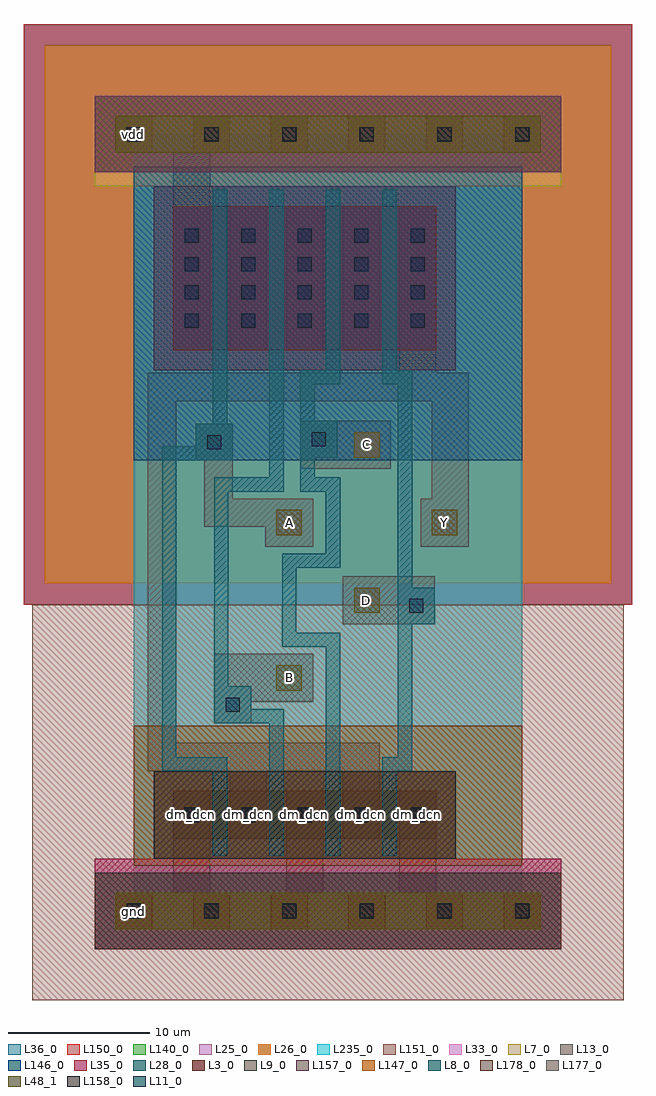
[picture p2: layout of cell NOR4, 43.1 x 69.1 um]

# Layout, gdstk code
import gdstk
lib = gdstk.Library(unit=1e-6, precision=1e-09)
def R(c, l, rs):  # rectangles x0, y0, x1, y1
    for r in rs: c.add(gdstk.rectangle(r[:2], r[2:], *l))
def A(c, l, x, y, w, h, nx, ny, dx, dy):  # array of equal rectangles
    R(c, l, [(x+i*dx, y+j*dy, x+i*dx+w, y+j*dy+h) for i in range(nx) for j in range(ny)])
def P(c, l, *ps):  # polygons
    for p in ps: c.add(gdstk.Polygon(p, *l))
L3_0 = (3, 0)
L7_0 = (7, 0)
L8_0 = (8, 0)
L9_0 = (9, 0)
L11_0 = (11, 0)
L13_0 = (13, 0)
L25_0 = (25, 0)
L26_0 = (26, 0)
L28_0 = (28, 0)
L33_0 = (33, 0)
L35_0 = (35, 0)
L36_0 = (36, 0)
L48_1 = (48, 1)
L140_0 = (140, 0)
L146_0 = (146, 0)
L147_0 = (147, 0)
L150_0 = (150, 0)
L151_0 = (151, 0)
L157_0 = (157, 0)
L158_0 = (158, 0)
L177_0 = (177, 0)
L178_0 = (178, 0)
L235_0 = (235, 0)

nor4 = lib.new_cell('NOR4')
A(nor4, L3_0, -1.3, -1.3, 2.6, 2.6, 6, 2, 5.5, 55)
R(nor4, L3_0, [(2.8,5.1,21.4,8.5), (2.8,39.7,21.4,49.9)])
R(nor4, L7_0, [(-2.75,-2.7,30.25,2.7)])
P(nor4, L7_0, [(1.4,38.3),(1.4,51.3),(-2.75,51.3),(-2.75,57.7),(30.25,57.7),(30.25,51.3),(22.8,51.3),(22.8,38.3)])
P(nor4, L8_0, [(5.6,3.9),(5.6,9.9),(2,9.9),(2,32.9),(4.4,32.9),(4.4,34.5),(5.6,34.5),(5.6,51.1),(6.6,51.1),(6.6,34.5),(7,34.5),(7,31.9),(3,31.9),(3,10.9),(6.6,10.9),(6.6,3.9)],
  [(9.6,3.9),(9.6,13.3),(5.7,13.3),(5.7,30.7),(9.6,30.7),(9.6,51.1),(10.6,51.1),(10.6,29.7),(6.7,29.7),(6.7,15.9),(8.3,15.9),(8.3,14.3),(10.6,14.3),(10.6,3.9)],
  [(13.6,3.9),(13.6,18.7),(10.5,18.7),(10.5,25.3),(13.6,25.3),(13.6,29.7),(11.8,29.7),(11.8,38.3),(13.6,38.3),(13.6,51.1),(14.6,51.1),(14.6,37.3),(12.8,37.3),(12.8,34.7),(14.4,34.7),(14.4,32.1),(12.8,32.1),(12.8,30.7),(14.6,30.7),(14.6,24.3),(11.5,24.3),(11.5,19.7),(14.6,19.7),(14.6,3.9)],
  [(17.6,3.9),(17.6,10.9),(18.7,10.9),(18.7,37.3),(17.6,37.3),(17.6,51.1),(18.6,51.1),(18.6,38.3),(19.7,38.3),(19.7,22.9),(21.3,22.9),(21.3,20.3),(19.7,20.3),(19.7,9.9),(18.6,9.9),(18.6,3.9)])
R(nor4, L9_0, [(1.4,3.7,22.8,9.9), (-2.75,52.3,30.25,57.7)])
A(nor4, L11_0, -0.5, -0.5, 1, 1, 6, 2, 5.5, 55)
A(nor4, L11_0, 3.6, 41.3, 1, 1, 1, 4, 0, 2)
A(nor4, L11_0, 19.6, 41.3, 1, 1, 1, 4, 0, 2)
R(nor4, L11_0, [(3.6,6.3,4.6,7.3), (7.6,6.3,8.6,7.3), (7.6,6.3,8.6,7.3), (11.6,6.3,12.6,7.3), (11.6,6.3,12.6,7.3), (15.6,6.3,16.6,7.3), (15.6,6.3,16.6,7.3), (19.6,6.3,20.6,7.3), (6.5,14.1,7.5,15.1), (19.5,21.1,20.5,22.1), (5.2,32.7,6.2,33.7), (12.6,32.9,13.6,33.9), (7.6,41.3,8.6,42.3), (7.6,41.3,8.6,42.3), (11.6,41.3,12.6,42.3), (11.6,41.3,12.6,42.3), (15.6,41.3,16.6,42.3), (15.6,41.3,16.6,42.3), (7.6,43.3,8.6,44.3), (7.6,43.3,8.6,44.3), (11.6,43.3,12.6,44.3), (11.6,43.3,12.6,44.3), (15.6,43.3,16.6,44.3), (15.6,43.3,16.6,44.3), (7.6,45.3,8.6,46.3), (7.6,45.3,8.6,46.3), (11.6,45.3,12.6,46.3), (11.6,45.3,12.6,46.3), (15.6,45.3,16.6,46.3), (15.6,45.3,16.6,46.3), (7.6,47.3,8.6,48.3), (7.6,47.3,8.6,48.3), (11.6,47.3,12.6,48.3), (11.6,47.3,12.6,48.3), (15.6,47.3,16.6,48.3), (15.6,47.3,16.6,48.3)])
A(nor4, L13_0, 6.8, 39.7, 2.6, 10.2, 3, 1, 4, 0)
R(nor4, L13_0, [(14.8,20.3,21.3,23.7), (11.8,31.3,18.2,34.7)])
P(nor4, L13_0, [(-1.3,-1.3),(-1.3,1.3),(2.8,1.3),(2.8,8.5),(5.4,8.5),(5.4,1.3),(10.8,1.3),(10.8,8.5),(13.4,8.5),(13.4,1.3),(18.8,1.3),(18.8,8.5),(21.4,8.5),(21.4,1.3),(28.8,1.3),(28.8,-1.3)],
  [(5.7,13.3),(5.7,18.2),(12.7,18.2),(12.7,14.8),(8.3,14.8),(8.3,13.3)],
  [(9.3,25.8),(9.3,27.2),(5,27.2),(5,31.9),(4.4,31.9),(4.4,34.5),(7,34.5),(7,29.2),(12.7,29.2),(12.7,25.8)],
  [(6.8,5.1),(6.8,9.9),(1,9.9),(1,38.1),(18.8,38.1),(18.8,49.9),(21.4,49.9),(21.4,38.1),(23.7,38.1),(23.7,25.8),(20.3,25.8),(20.3,29.2),(21.1,29.2),(21.1,36.1),(3,36.1),(3,11.9),(17.4,11.9),(17.4,5.1),(14.8,5.1),(14.8,9.9),(9.4,9.9),(9.4,5.1)],
  [(2.8,39.7),(2.8,53.7),(-1.3,53.7),(-1.3,56.3),(28.8,56.3),(28.8,53.7),(5.4,53.7),(5.4,39.7)])
R(nor4, L25_0, [(-6.3,23.2,33.8,61.3)])
R(nor4, L26_0, [(-6.3,23.2,33.8,61.3)])
R(nor4, L28_0, [(-2.75,-2.7,30.25,2.7), (1.4,38.3,22.8,51.3)])
P(nor4, L33_0, [(-2.75,-2.7),(-2.75,3.7),(1.4,3.7),(1.4,9.9),(22.8,9.9),(22.8,3.7),(30.25,3.7),(30.25,-2.7)],
  [(1.4,38.3),(1.4,51.3),(-2.75,51.3),(-2.75,57.7),(30.25,57.7),(30.25,51.3),(22.8,51.3),(22.8,38.3)])
R(nor4, L35_0, [(-2.75,52.3,30.25,57.7)])
P(nor4, L35_0, [(-2.75,-2.7),(-2.75,3.7),(1.4,3.7),(1.4,9.9),(22.8,9.9),(22.8,3.7),(30.25,3.7),(30.25,-2.7)])
R(nor4, L36_0, [(-7.8,21.7,35.3,62.8)])
R(nor4, L48_1, [(-1.3,-1.3,28.8,1.3), (10.1,15.6,11.9,17.4), (15.6,21.1,17.4,22.9), (10.1,26.6,11.9,28.4), (21.1,26.6,22.9,28.4), (15.6,32.1,17.4,33.9), (-1.3,53.7,28.8,56.3)])
R(nor4, L140_0, [(-6.3,23.2,33.8,61.3)])
R(nor4, L146_0, [(0,31.9,27.5,52.7)])
R(nor4, L147_0, [(0,3.2,27.5,13.1)])
R(nor4, L150_0, [(-7.8,21.7,35.3,62.8)])
R(nor4, L151_0, [(-7.2,-6.3,34.7,21.7)])
R(nor4, L157_0, [(1.4,38.3,22.8,51.3)])
R(nor4, L158_0, [(1.4,3.7,22.8,9.9)])
R(nor4, L177_0, [(-2.75,52.3,30.25,57.7)])
R(nor4, L178_0, [(-2.75,-2.7,30.25,2.7)])
R(nor4, L235_0, [(0,0,27.5,55)])
nor4.add(gdstk.Label('dm_dcn', (12.1,6.8), layer=11, texttype=0))
nor4.add(gdstk.Label('dm_dcn', (16.1,6.8), layer=11, texttype=0))
nor4.add(gdstk.Label('dm_dcn', (8.1,6.8), layer=11, texttype=0))
nor4.add(gdstk.Label('dm_dcn', (12.1,6.8), layer=11, texttype=0))
nor4.add(gdstk.Label('dm_dcn', (4.1,6.8), layer=11, texttype=0))
nor4.add(gdstk.Label('dm_dcn', (8.1,6.8), layer=11, texttype=0))
nor4.add(gdstk.Label('dm_dcn', (16.1,6.8), layer=11, texttype=0))
nor4.add(gdstk.Label('dm_dcn', (20.1,6.8), layer=11, texttype=0))
nor4.add(gdstk.Label('vdd', (0,55), layer=48, texttype=0))
nor4.add(gdstk.Label('C', (16.5,33), layer=48, texttype=0))
nor4.add(gdstk.Label('Y', (22,27.5), layer=48, texttype=0))
nor4.add(gdstk.Label('A', (11,27.5), layer=48, texttype=0))
nor4.add(gdstk.Label('D', (16.5,22), layer=48, texttype=0))
nor4.add(gdstk.Label('B', (11,16.5), layer=48, texttype=0))
nor4.add(gdstk.Label('gnd', (0,0), layer=48, texttype=0))

lib.write_gds('NOR4.gds')
